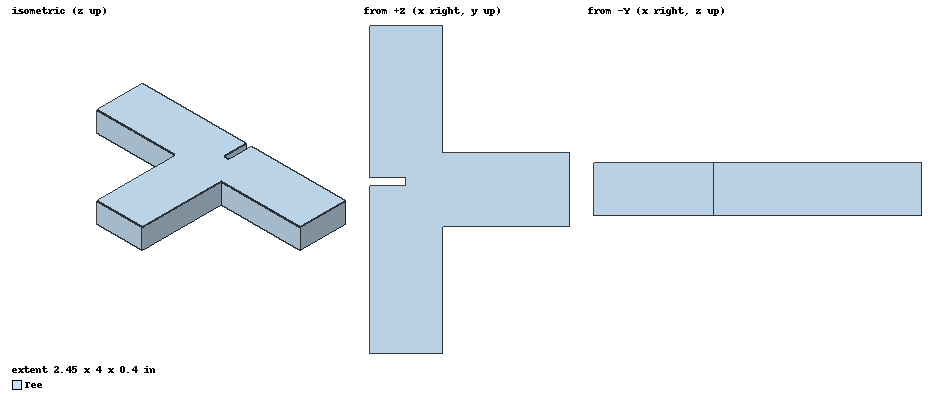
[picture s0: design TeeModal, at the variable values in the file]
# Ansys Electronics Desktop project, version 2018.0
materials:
  vacuum: permittivity=1

design TeeModal (HFSS, DrivenModal, model units in)
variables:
  Offset = 0.096734483in  # optimise 0in..0.2in
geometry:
  Tee [vacuum] = box(corner=(0in, -0.45in, 0in), size=(2in, 0.9in, 0.4in))
  Tee_1 = Tee.duplicate_around_axis(axis=Z, angle=90deg, total=2)
  Tee_2 = Tee.duplicate_around_axis(axis=Z, angle=-90deg, total=2)
  Tee.unite(Tee_1, Tee_2)
  Septum = box(corner=(-0.45in, Offset-0.05in, 0in), size=(0.45in, 0.1in, 0.4in))
  Tee.subtract(Septum)
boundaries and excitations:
  P1: Wave Port Faces=Tee.face(+x) NumModes=1 Modes{Mode1{IntLine{middle of Tee.edge(5 of 12) -> middle of Tee.edge(1 of 12)} CharImp=Zpi}}
  P2: Wave Port Faces=Tee.face(6 of 6) NumModes=1 Modes{Mode1{IntLine{middle of Tee.edge(5 of 12) -> middle of Tee.edge(1 of 12)} CharImp=Zpi}}
  P3: Wave Port Faces=Tee.face(6 of 6) NumModes=1 Modes{Mode1{IntLine{middle of Tee.edge(5 of 12) -> middle of Tee.edge(1 of 12)} CharImp=Zpi}}
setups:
  Setup1: HfssDriven Frequency=10GHz MaxDeltaS=0.02 MaximumPasses=6 MinimumPasses=1 MinimumConvergedPasses=1 PercentRefinement=30 BasisOrder=1 PortAccuracy=2
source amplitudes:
  P1:1: 1W 0deg
  P2:1, P3:1: 0W 0deg
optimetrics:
  ParametricSetup1: Parametric Sim._Setups=[Setup1]
    sweep Offset: LIN 0in 1in 0.1in
  OptimizationSetup1: Optimization Optimizer="Quasi Newton" AnalysisStopOptions{StopForNumIteration MaxNumIteration=1000 MinNumIteration=10} CostFuncNormType=L2 Acceptable_Cost=0.0005 Noise=1e-005 UpdateDesignWhenDone
    vary Offset: Min=0in Max=0.2in MinStep=0.02in MaxStep=0.2in MinFocus=0in MaxFocus=0.2in start=0.1in
    goal Power31-2*Power21 == 0 weight 1 on Setup1 : LastAdaptive at Freq 10GHz
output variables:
  Power11 = mag(S(P1,P1))*mag(S(P1,P1))
  Power21 = mag(S(P2,P1))*mag(S(P2,P1))
  Power31 = mag(S(P3,P1))*mag(S(P3,P1))
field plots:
  Mag_E1: E Field over Tee.face(+z) on Setup1 : LastAdaptive at Freq=10GHz Phase=0deg
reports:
  Output Variables Plot 1: Power11, Power21, Power31 vs Offset on Setup1 : LastAdaptive [Freq=all]
  Output Variables Table 1: Power21, Power31 vs Offset on Setup1 : LastAdaptive [Offset=0.0967345in Freq=all]
